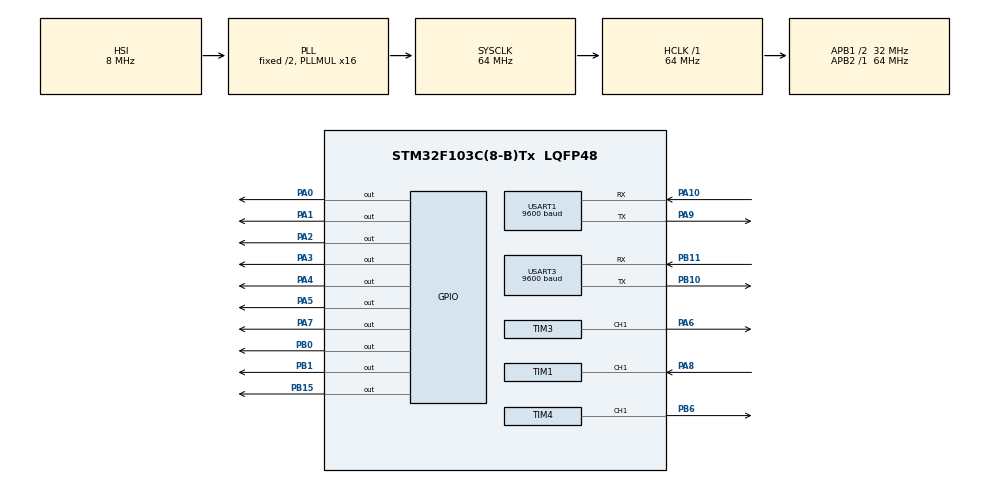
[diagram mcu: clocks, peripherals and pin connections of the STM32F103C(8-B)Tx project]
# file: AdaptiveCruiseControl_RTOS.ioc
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FREERTOS.Tasks01=defaultTask,0,128,StartDefaultTask,Default,NULL,Dynamic,NULL,NULL
FREERTOS.configUSE_NEWLIB_REENTRANT=1
Mcu.Family=STM32F1
Mcu.Name=STM32F103C(8-B)Tx
Mcu.Package=LQFP48
NVIC.PriorityGroup=NVIC_PRIORITYGROUP_4
NVIC.TIM1_CC_IRQn=true\:5\:0\:false\:false\:true\:true\:true\:true\:true
NVIC.USART3_IRQn=true\:5\:0\:false\:false\:true\:true\:true\:true\:true
PA0-WKUP.Signal=GPIO_Output
PA1.Signal=GPIO_Output
PA10.Mode=Asynchronous
PA10.Signal=USART1_RX
PA13.Mode=Serial_Wire
PA13.Signal=SYS_JTMS-SWDIO
PA14.Mode=Serial_Wire
PA14.Signal=SYS_JTCK-SWCLK
PA2.Signal=GPIO_Output
PA3.Signal=GPIO_Output
PA4.Signal=GPIO_Output
PA5.Signal=GPIO_Output
PA6.Signal=S_TIM3_CH1
PA7.Signal=GPIO_Output
PA8.Signal=S_TIM1_CH1
PA9.Mode=Asynchronous
PA9.Signal=USART1_TX
PB0.Signal=GPIO_Output
PB1.Signal=GPIO_Output
PB10.Mode=Asynchronous
PB10.Signal=USART3_TX
PB11.Mode=Asynchronous
PB11.Signal=USART3_RX
PB15.Signal=GPIO_Output
PB6.Signal=S_TIM4_CH1
PC14-OSC32_IN.Mode=LSE-External-Oscillator
PC14-OSC32_IN.Signal=RCC_OSC32_IN
PC15-OSC32_OUT.Mode=LSE-External-Oscillator
PC15-OSC32_OUT.Signal=RCC_OSC32_OUT
PD0-OSC_IN.Mode=HSE-External-Oscillator
PD0-OSC_IN.Signal=RCC_OSC_IN
PD1-OSC_OUT.Mode=HSE-External-Oscillator
PD1-OSC_OUT.Signal=RCC_OSC_OUT
ProjectManager.HeapSize=0x200
ProjectManager.StackSize=0x400
ProjectManager.TargetToolchain=STM32CubeIDE
RCC.AHBFreq_Value=64000000
RCC.APB1CLKDivider=RCC_HCLK_DIV2
RCC.APB1Freq_Value=32000000
RCC.APB1TimFreq_Value=64000000
RCC.APB2Freq_Value=64000000
RCC.APB2TimFreq_Value=64000000
RCC.HCLKFreq_Value=64000000
RCC.PLLMUL=RCC_PLL_MUL16
RCC.SYSCLKFreq_VALUE=64000000
RCC.SYSCLKSource=RCC_SYSCLKSOURCE_PLLCLK
RCC.USBFreq_Value=64000000
SH.S_TIM1_CH1.0=TIM1_CH1,Input_Capture1_from_TI1
SH.S_TIM3_CH1.0=TIM3_CH1,PWM Generation1 CH1
SH.S_TIM4_CH1.0=TIM4_CH1,PWM Generation1 CH1
TIM1.Channel-Input_Capture1_from_TI1=TIM_CHANNEL_1
TIM1.Prescaler=64-1
TIM3.Channel-PWM\ Generation1\ CH1=TIM_CHANNEL_1
TIM3.Period=100-1
TIM3.Prescaler=32-1
TIM4.Channel-PWM\ Generation1\ CH1=TIM_CHANNEL_1
TIM4.Period=100-1
TIM4.Prescaler=32-1
USART1.BaudRate=9600
USART1.VirtualMode=VM_ASYNC
USART3.BaudRate=9600
USART3.VirtualMode=VM_ASYNC
VP_FREERTOS_VS_CMSIS_V1.Mode=CMSIS_V1
VP_TIM4_VS_ClockSourceINT.Mode=Internal
board=custom

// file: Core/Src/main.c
/* USER CODE BEGIN Header */
/**
 ******************************************************************************
 * @file           : main.c
 * @brief          : Main program body
 ******************************************************************************
 * @attention
 *
 * Copyright (c) 2024 STMicroelectronics.
 * All rights reserved.
 *
 * This software is licensed under terms that can be found in the LICENSE file
 * in the root directory of this software component.
 * If no LICENSE file comes with this software, it is provided AS-IS.
 *
 ******************************************************************************
 */
/* USER CODE END Header */
#include "main.h"
#include "cmsis_os.h"

/* USER CODE BEGIN Includes */
#include "HC05_Bluetooth.h"
#include "LCD_interface.h"
#include "BUZZER_interface.h"
#include "LED_interface.h"
#include "DC_MOT.h"
#include "UltraSonic_interface_.h"
/* USER CODE END Includes */

/* USER CODE BEGIN PD */
#define MOTOR_MAX_SPEED 100
#define MOTOR_MIN_SPEED 0
#define ENGINE_ON       1
#define ENGINE_OFF      0
/* USER CODE END PD */

TIM_HandleTypeDef htim1;
TIM_HandleTypeDef htim3;
TIM_HandleTypeDef htim4;

UART_HandleTypeDef huart1;
UART_HandleTypeDef huart3;

void SystemClock_Config(void);
static void MX_GPIO_Init(void);
static void MX_TIM1_Init(void);
static void MX_TIM3_Init(void);
static void MX_USART1_UART_Init(void);
static void MX_TIM4_Init(void);
static void MX_USART3_UART_Init(void);

/* USER CODE BEGIN 0 */
void BLE_Read_Task    (void  * argument);
void V2V_Task         (void  * argument);
void ACC_Task         (void  * argument);
void Action_Task      (void  * argument);
void Display_Task     (void  * argument);

EventGroupHandle_t EG_Action = NULL;
EventBits_t        EG_Value  = 0;
#define EG_ENGINE_START    (1<<0)
#define EG_ENGINE_STOP     (1<<1)
#define EG_SPEED_UP        (1<<2)
#define EG_SPEED_DOWN      (1<<3)

EventGroupHandle_t EG_V2V = NULL;
EventBits_t        EG_V2VValue  = 0;
#define EG_DIS_LESS_10     (1<<0)
#define EG_DIS_LESS_5      (1<<1)

int8_t Duty = 0;
uint8_t ACC_State = 0;
uint8_t User_Control = 0;
uint8_t Engine_State = 0;
float Distance = 0;
uint8_t Counter = 0;
uint8_t u8FlagLess10=1;
uint8_t u8FlagLess5= 1;
uint8_t u8LCDFlagInit=0;
uint8_t u8CLRState=0;

/* USER CODE END 0 */

int main(void)
{

	/* MCU Configuration--------------------------------------------------------*/

	/* Reset of all peripherals, Initializes the Flash interface and the Systick. */
	HAL_Init();

	/* Configure the system clock */
	SystemClock_Config();

	/* Initialize all configured peripherals */
	MX_GPIO_Init();
	MX_TIM1_Init();
	MX_TIM3_Init();
	MX_USART1_UART_Init();
	MX_TIM4_Init();
	MX_USART3_UART_Init();
	/* USER CODE BEGIN 2 */
	EG_Action = xEventGroupCreate();
	EG_V2V = xEventGroupCreate();
	xTaskCreate(BLE_Read_Task, NULL, 100 , NULL , 1 , NULL);
	xTaskCreate(V2V_Task, NULL, 100 , NULL , 2 , NULL);
	xTaskCreate(ACC_Task, NULL, 100 , NULL , 3 , NULL);
	xTaskCreate(Action_Task, NULL, 100 , NULL , 4 , NULL);
	xTaskCreate(Display_Task, NULL, 50 , NULL , 5 , NULL);
	UltraSonic_INIT();
	DC_Motor_Init();

	vTaskStartScheduler();
	//mqBLE = xQueueCreate(4 , 1);
	/* USER CODE END 2 */

	/* Create the thread(s) */
	/* definition and creation of defaultTask */

	/* Start scheduler */

	/* We should never get here as control is now taken by the scheduler */
	/* Infinite loop */
	while (1)
	{

	}
}

void SystemClock_Config(void)
{
	RCC_OscInitTypeDef RCC_OscInitStruct = {0};
	RCC_ClkInitTypeDef RCC_ClkInitStruct = {0};

	/** Initializes the RCC Oscillators according to the specified parameters
	 * in the RCC_OscInitTypeDef structure.
	 */
	RCC_OscInitStruct.OscillatorType = RCC_OSCILLATORTYPE_HSI;
	RCC_OscInitStruct.HSIState = RCC_HSI_ON;
	RCC_OscInitStruct.HSICalibrationValue = RCC_HSICALIBRATION_DEFAULT;
	RCC_OscInitStruct.PLL.PLLState = RCC_PLL_ON;
	RCC_OscInitStruct.PLL.PLLSource = RCC_PLLSOURCE_HSI_DIV2;
	RCC_OscInitStruct.PLL.PLLMUL = RCC_PLL_MUL16;
	if (HAL_RCC_OscConfig(&RCC_OscInitStruct) != HAL_OK)
	{
		Error_Handler();
	}

	/** Initializes the CPU, AHB and APB buses clocks
	 */
	RCC_ClkInitStruct.ClockType = RCC_CLOCKTYPE_HCLK|RCC_CLOCKTYPE_SYSCLK
			|RCC_CLOCKTYPE_PCLK1|RCC_CLOCKTYPE_PCLK2;
	RCC_ClkInitStruct.SYSCLKSource = RCC_SYSCLKSOURCE_PLLCLK;
	RCC_ClkInitStruct.AHBCLKDivider = RCC_SYSCLK_DIV1;
	RCC_ClkInitStruct.APB1CLKDivider = RCC_HCLK_DIV2;
	RCC_ClkInitStruct.APB2CLKDivider = RCC_HCLK_DIV1;

	if (HAL_RCC_ClockConfig(&RCC_ClkInitStruct, FLASH_LATENCY_2) != HAL_OK)
	{
		Error_Handler();
	}
}

static void MX_TIM1_Init(void)
{

	TIM_MasterConfigTypeDef sMasterConfig = {0};
	TIM_IC_InitTypeDef sConfigIC = {0};

	htim1.Instance = TIM1;
	htim1.Init.Prescaler = 64-1;
	htim1.Init.CounterMode = TIM_COUNTERMODE_UP;
	htim1.Init.Period = 65535;
	htim1.Init.ClockDivision = TIM_CLOCKDIVISION_DIV1;
	htim1.Init.RepetitionCounter = 0;
	htim1.Init.AutoReloadPreload = TIM_AUTORELOAD_PRELOAD_DISABLE;
	if (HAL_TIM_IC_Init(&htim1) != HAL_OK)
	{
		Error_Handler();
	}
	sMasterConfig.MasterOutputTrigger = TIM_TRGO_RESET;
	sMasterConfig.MasterSlaveMode = TIM_MASTERSLAVEMODE_DISABLE;
	if (HAL_TIMEx_MasterConfigSynchronization(&htim1, &sMasterConfig) != HAL_OK)
	{
		Error_Handler();
	}
	sConfigIC.ICPolarity = TIM_INPUTCHANNELPOLARITY_RISING;
	sConfigIC.ICSelection = TIM_ICSELECTION_DIRECTTI;
	sConfigIC.ICPrescaler = TIM_ICPSC_DIV1;
	sConfigIC.ICFilter = 0;
	if (HAL_TIM_IC_ConfigChannel(&htim1, &sConfigIC, TIM_CHANNEL_1) != HAL_OK)
	{
		Error_Handler();
	}

}

static void MX_TIM3_Init(void)
{

	TIM_MasterConfigTypeDef sMasterConfig = {0};
	TIM_OC_InitTypeDef sConfigOC = {0};

	htim3.Instance = TIM3;
	htim3.Init.Prescaler = 32-1;
	htim3.Init.CounterMode = TIM_COUNTERMODE_UP;
	htim3.Init.Period = 100-1;
	htim3.Init.ClockDivision = TIM_CLOCKDIVISION_DIV1;
	htim3.Init.AutoReloadPreload = TIM_AUTORELOAD_PRELOAD_DISABLE;
	if (HAL_TIM_PWM_Init(&htim3) != HAL_OK)
	{
		Error_Handler();
	}
	sMasterConfig.MasterOutputTrigger = TIM_TRGO_RESET;
	sMasterConfig.MasterSlaveMode = TIM_MASTERSLAVEMODE_DISABLE;
	if (HAL_TIMEx_MasterConfigSynchronization(&htim3, &sMasterConfig) != HAL_OK)
	{
		Error_Handler();
	}
	sConfigOC.OCMode = TIM_OCMODE_PWM1;
	sConfigOC.Pulse = 0;
	sConfigOC.OCPolarity = TIM_OCPOLARITY_HIGH;
	sConfigOC.OCFastMode = TIM_OCFAST_DISABLE;
	if (HAL_TIM_PWM_ConfigChannel(&htim3, &sConfigOC, TIM_CHANNEL_1) != HAL_OK)
	{
		Error_Handler();
	}
	HAL_TIM_MspPostInit(&htim3);

}

static void MX_TIM4_Init(void)
{

	TIM_ClockConfigTypeDef sClockSourceConfig = {0};
	TIM_MasterConfigTypeDef sMasterConfig = {0};
	TIM_OC_InitTypeDef sConfigOC = {0};

	htim4.Instance = TIM4;
	htim4.Init.Prescaler = 32-1;
	htim4.Init.CounterMode = TIM_COUNTERMODE_UP;
	htim4.Init.Period = 100-1;
	htim4.Init.ClockDivision = TIM_CLOCKDIVISION_DIV1;
	htim4.Init.AutoReloadPreload = TIM_AUTORELOAD_PRELOAD_DISABLE;
	if (HAL_TIM_Base_Init(&htim4) != HAL_OK)
	{
		Error_Handler();
	}
	sClockSourceConfig.ClockSource = TIM_CLOCKSOURCE_INTERNAL;
	if (HAL_TIM_ConfigClockSource(&htim4, &sClockSourceConfig) != HAL_OK)
	{
		Error_Handler();
	}
	if (HAL_TIM_PWM_Init(&htim4) != HAL_OK)
	{
		Error_Handler();
	}
	sMasterConfig.MasterOutputTrigger = TIM_TRGO_RESET;
	sMasterConfig.MasterSlaveMode = TIM_MASTERSLAVEMODE_DISABLE;
	if (HAL_TIMEx_MasterConfigSynchronization(&htim4, &sMasterConfig) != HAL_OK)
	{
		Error_Handler();
	}
	sConfigOC.OCMode = TIM_OCMODE_PWM1;
	sConfigOC.Pulse = 0;
	sConfigOC.OCPolarity = TIM_OCPOLARITY_HIGH;
	sConfigOC.OCFastMode = TIM_OCFAST_DISABLE;
	if (HAL_TIM_PWM_ConfigChannel(&htim4, &sConfigOC, TIM_CHANNEL_1) != HAL_OK)
	{
		Error_Handler();
	}
	HAL_TIM_MspPostInit(&htim4);

}

static void MX_USART1_UART_Init(void)
{

	huart1.Instance = USART1;
	huart1.Init.BaudRate = 9600;
	huart1.Init.WordLength = UART_WORDLENGTH_8B;
	huart1.Init.StopBits = UART_STOPBITS_1;
	huart1.Init.Parity = UART_PARITY_NONE;
	huart1.Init.Mode = UART_MODE_TX_RX;
	huart1.Init.HwFlowCtl = UART_HWCONTROL_NONE;
	huart1.Init.OverSampling = UART_OVERSAMPLING_16;
	if (HAL_UART_Init(&huart1) != HAL_OK)
	{
		Error_Handler();
	}

}

static void MX_USART3_UART_Init(void)
{

	huart3.Instance = USART3;
	huart3.Init.BaudRate = 9600;
	huart3.Init.WordLength = UART_WORDLENGTH_8B;
	huart3.Init.StopBits = UART_STOPBITS_1;
	huart3.Init.Parity = UART_PARITY_NONE;
	huart3.Init.Mode = UART_MODE_TX_RX;
	huart3.Init.HwFlowCtl = UART_HWCONTROL_NONE;
	huart3.Init.OverSampling = UART_OVERSAMPLING_16;
	if (HAL_UART_Init(&huart3) != HAL_OK)
	{
		Error_Handler();
	}

}

static void MX_GPIO_Init(void)
{
	GPIO_InitTypeDef GPIO_InitStruct = {0};

	/* GPIO Ports Clock Enable */
	__HAL_RCC_GPIOC_CLK_ENABLE();
	__HAL_RCC_GPIOD_CLK_ENABLE();
	__HAL_RCC_GPIOA_CLK_ENABLE();
	__HAL_RCC_GPIOB_CLK_ENABLE();

	/*Configure GPIO pin Output Level */
	HAL_GPIO_WritePin(GPIOA, GPIO_PIN_0|GPIO_PIN_1|GPIO_PIN_2|GPIO_PIN_3
			|GPIO_PIN_4|GPIO_PIN_5|GPIO_PIN_7, GPIO_PIN_RESET);

	/*Configure GPIO pin Output Level */
	HAL_GPIO_WritePin(GPIOB, GPIO_PIN_0|GPIO_PIN_1|GPIO_PIN_15, GPIO_PIN_RESET);

	/*Configure GPIO pins : PA0 PA1 PA2 PA3
                           PA4 PA5 PA7 */
	GPIO_InitStruct.Pin = GPIO_PIN_0|GPIO_PIN_1|GPIO_PIN_2|GPIO_PIN_3
			|GPIO_PIN_4|GPIO_PIN_5|GPIO_PIN_7;
	GPIO_InitStruct.Mode = GPIO_MODE_OUTPUT_PP;
	GPIO_InitStruct.Pull = GPIO_NOPULL;
	GPIO_InitStruct.Speed = GPIO_SPEED_FREQ_LOW;
	HAL_GPIO_Init(GPIOA, &GPIO_InitStruct);

	/*Configure GPIO pins : PB0 PB1 PB15 */
	GPIO_InitStruct.Pin = GPIO_PIN_0|GPIO_PIN_1|GPIO_PIN_15;
	GPIO_InitStruct.Mode = GPIO_MODE_OUTPUT_PP;
	GPIO_InitStruct.Pull = GPIO_NOPULL;
	GPIO_InitStruct.Speed = GPIO_SPEED_FREQ_LOW;
	HAL_GPIO_Init(GPIOB, &GPIO_InitStruct);

}

/* USER CODE BEGIN 4 */

void Display_Task     (void  * argument)
{
	while(1)
	{
		if(Engine_State == 1)
		{
			if((Distance < 10.0) && u8CLRState == 0 )
			{
				u8CLRState = 1;
				LCD_voidClear();
			}
			else if(Distance > 10.0)
			{
				u8CLRState = 0;
			}
			if(u8LCDFlagInit == 0)
			{
				LCD_voidInit();
				u8LCDFlagInit = 1;
			}
			// Display ( Distance & Duty & ACC State On LCD)
			LCD_voidSetCursor(0, 0);
			LCD_voidWriteString((uint8_t*)"Speed:");
			LCD_voidWriteNum(Duty);
			LCD_voidWriteString((uint8_t*)"%");
			LCD_voidSetCursor(1, 9);
			LCD_voidWriteString((uint8_t*)"ACC:");
			if(ACC_State==1)
			{
				LCD_voidWriteString((uint8_t*)" ON");
			}
			else
			{
				LCD_voidWriteString((uint8_t*)"OFF");
			}
			LCD_voidSetCursor(1, 0);
			LCD_voidWriteString((uint8_t*)"Dist:");
			LCD_voidWriteNum(Distance);

		}
		vTaskDelay(500);
	}
}
void BLE_Read_Task    (void  * argument)
{
	HAL_StatusTypeDef RetValue = HAL_ERROR;
	uint8_t BLE_Rer_Arr[4]={0};
	while(1)
	{
		RetValue =  H_HC05_Recieve_Polling  (&BLE_Rer_Arr[0]);
		if(RetValue == HAL_OK)
		{
			switch(BLE_Rer_Arr[0])
			{
			case 'S' :
				switch(BLE_Rer_Arr[1])
				{
				case '1':
					xEventGroupSetBits(EG_Action,EG_SPEED_UP);
					break;
				case '0':
					xEventGroupSetBits(EG_Action,EG_SPEED_DOWN);
					break;
				}
				break;

				case 'E' :

					switch(BLE_Rer_Arr[1])
					{
					case '1':
						xEventGroupSetBits(EG_Action,EG_ENGINE_START );
						break;
					case '0':
						xEventGroupSetBits(EG_Action,EG_ENGINE_STOP );
						break;
					}
					break;
			}
		}
		else
		{

		}
		vTaskDelay(10);
	}
}

void V2V_Task (void  * argument)
{
	uint8_t Local_8uLess10Mssg[4] = {'1','0','\r','\n'};
	uint8_t Local_8uLess5Mssg [4] = {'0','5','\r','\n'};
	while(1)
	{
		EG_V2VValue = xEventGroupWaitBits(EG_V2V,
				( EG_DIS_LESS_10 | EG_DIS_LESS_5) ,
				1, // Auto Clear
				0, // Or Between bits not wait for all of the events
				portMAX_DELAY);
		if(EG_V2VValue & EG_DIS_LESS_10)
		{
			if(u8FlagLess10 == 1)
			{
				Counter++;
				HAL_UART_Transmit(&huart1, Local_8uLess10Mssg, 4, 100);
				u8FlagLess10=0;
			}
		}
		if(EG_V2VValue & EG_DIS_LESS_5)
		{
			if(u8FlagLess5 == 1)
			{
				HAL_UART_Transmit(&huart1, Local_8uLess5Mssg, 4, 100);
				Counter--;
				u8FlagLess5=0;
			}
		}
	}
}
void ACC_Task         (void  * argument)
{
	/*
	 * 1) Read UltaSonic Distance
	 * 2) if Distance > 10cm --> ACC Off and go waiting state
	 * 3) if Distance < 10cm --> ACC on (Regulate the speed & change ACC Status & Yellow Led ON)
	 * 4) if Distance < 5cm  --> Stop The Car & Red Led ON & Buzzer ON
	 */
	while(1)
	{
		if(ENGINE_ON == Engine_State)
		{
			UltraSonic_Get_Distance(&Distance);
			if(Distance > 10 )
			{
				ACC_State = 0;
				u8FlagLess10 = 1;
				u8FlagLess5 =  1;
			}
			else if(Distance <= 10.0 && Distance > 5.0)
			{
				ACC_State = 1;
				Duty = 20;
				DC_Motor_SetSpeed(Duty);
				u8FlagLess5 =  1;
				xEventGroupSetBits(EG_V2V, EG_DIS_LESS_10);
			}
			else if(Distance < 5.0)
			{
				ACC_State = 1;
				Duty = MOTOR_MIN_SPEED;
				DC_Motor_SetSpeed(Duty);
				xEventGroupSetBits(EG_V2V, EG_DIS_LESS_5);
			}
			else
			{

			}
		}
		vTaskDelay(250);
	}
}
void Action_Task      (void  * argument)
{
	while(1)
	{
		EG_Value = xEventGroupWaitBits(EG_Action,
				(EG_ENGINE_START | EG_ENGINE_STOP | EG_SPEED_UP | EG_SPEED_DOWN) ,
				1, // Auto Clear
				0, // Or Between bits not wait for all of the events
				portMAX_DELAY);

		if(EG_Value & EG_ENGINE_START)
		{
			// Start Motor with Duty 50%
			DC_Motor_Init();
			Engine_State = ENGINE_ON;
		}
		if(EG_Value & EG_ENGINE_STOP)
		{
			// Stop Motor Duty 0%
			Duty =0;
			DC_Motor_STOP();
			Engine_State = ENGINE_OFF;
		}
		if(EG_Value & EG_SPEED_UP)
		{
			if(ENGINE_ON == Engine_State)
			{
				Duty+=10;
				if(MOTOR_MAX_SPEED < Duty)
				{
					Duty=MOTOR_MAX_SPEED;
					DC_Motor_SetSpeed(Duty);
				}
				else
				{
					DC_Motor_SetSpeed(Duty);
				}
			}
		}
		if(EG_Value & EG_SPEED_DOWN)
		{
			if(ENGINE_ON == Engine_State)
			{
				Duty-=10;
				if(MOTOR_MIN_SPEED > Duty)
				{
					Duty = MOTOR_MIN_SPEED;
					DC_Motor_SetSpeed(Duty);
				}
				else
				{
					DC_Motor_SetSpeed(Duty);
				}
			}
		}
	}
}

/* USER CODE END 4 */

void Error_Handler(void)
{
	__disable_irq();
	while (1)
	{
	}
}
